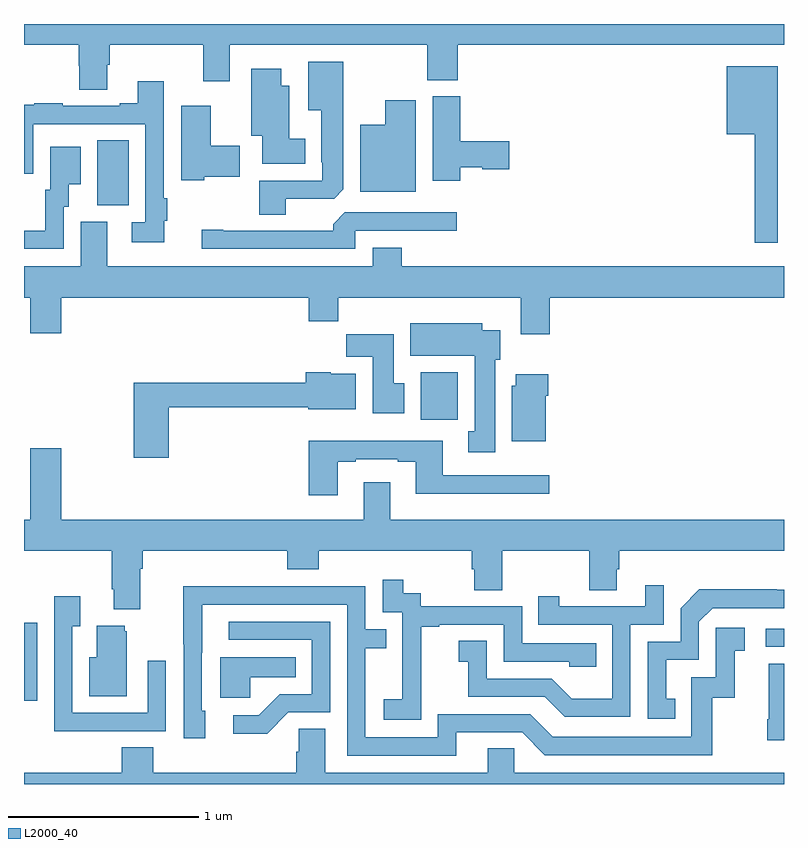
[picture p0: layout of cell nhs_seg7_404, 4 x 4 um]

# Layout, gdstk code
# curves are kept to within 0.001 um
import gdstk
lib = gdstk.Library(unit=1e-6, precision=1e-09)
def R(c, l, rs):  # rectangles x0, y0, x1, y1
    for r in rs: c.add(gdstk.rectangle(r[:2], r[2:], *l))
def P(c, l, *ps):  # polygons
    for p in ps: c.add(gdstk.Polygon(p, *l))
L2000_40 = (2000, 40)

nhs_seg7_404 = lib.new_cell('nhs_seg7_404')
R(nhs_seg7_404, L2000_40, [(141,1054.439,141.07,1054.849), (144.903,1054.722,145,1054.818), (143.087,1055.916,143.283,1056.166), (141.386,1057.045,141.55,1057.388)])
P(nhs_seg7_404, L2000_40, [(141.439,1057.786),(141.452,1057.786),(141.452,1057.892),(141.944,1057.892),(141.944,1057.698),(142.084,1057.698),(142.084,1057.892),(143.122,1057.892),(143.122,1057.705),(143.282,1057.705),(143.282,1057.892),(145,1057.892),(145,1058),(141,1058),(141,1057.892),(141.287,1057.892),(141.287,1057.779),(141.292,1057.779),(141.292,1057.654),(141.439,1057.654)],
  [(142.378,1057.08),(142.632,1057.08),(142.681,1057.129),(142.681,1057.801),(142.496,1057.801),(142.496,1057.547),(142.565,1057.547),(142.565,1057.273),(142.569,1057.273),(142.569,1057.176),(142.238,1057.176),(142.238,1056.997),(142.378,1056.997)],
  [(144.967,1057.777),(144.698,1057.777),(144.698,1057.421),(144.846,1057.421),(144.846,1056.849),(144.967,1056.849)],
  [(142.48,1057.396),(142.396,1057.396),(142.396,1057.675),(142.354,1057.675),(142.354,1057.765),(142.196,1057.765),(142.196,1057.412),(142.253,1057.412),(142.253,1057.265),(142.48,1057.265)],
  [(141.737,1056.964),(141.755,1056.964),(141.755,1057.082),(141.735,1057.082),(141.735,1057.699),(141.599,1057.699),(141.599,1057.582),(141.503,1057.582),(141.503,1057.569),(141.203,1057.569),(141.203,1057.582),(141.055,1057.582),(141.055,1057.575),(141,1057.575),(141,1057.212),(141.048,1057.212),(141.048,1057.473),(141.639,1057.473),(141.639,1056.957),(141.567,1056.957),(141.567,1056.852),(141.737,1056.852)],
  [(143.297,1057.247),(143.411,1057.247),(143.411,1057.235),(143.554,1057.235),(143.554,1057.382),(143.297,1057.382),(143.297,1057.62),(143.15,1057.62),(143.15,1057.176),(143.297,1057.176)],
  [(143.062,1057.6),(142.901,1057.6),(142.901,1057.471),(142.769,1057.471),(142.769,1057.118),(143.062,1057.118)],
  [(141.948,1057.196),(142.135,1057.196),(142.135,1057.359),(141.982,1057.359),(141.982,1057.57),(141.827,1057.57),(141.827,1057.178),(141.948,1057.178)],
  [(141.21,1057.038),(141.235,1057.038),(141.235,1057.157),(141.298,1057.157),(141.298,1057.354),(141.137,1057.354),(141.137,1057.128),(141.113,1057.128),(141.113,1056.912),(141,1056.912),(141,1056.816),(141.21,1056.816)],
  [(142.743,1056.912),(143.278,1056.912),(143.278,1057.008),(142.689,1057.008),(142.628,1056.946),(142.628,1056.912),(142.048,1056.912),(142.048,1056.917),(141.936,1056.917),(141.936,1056.816),(142.743,1056.816)],
  [(142.835,1056.823),(142.835,1056.724),(141.439,1056.724),(141.439,1056.96),(141.299,1056.96),(141.299,1056.724),(141,1056.724),(141,1056.56),(141.032,1056.56),(141.032,1056.372),(141.196,1056.372),(141.196,1056.56),(142.499,1056.56),(142.499,1056.436),(142.655,1056.436),(142.655,1056.56),(143.615,1056.56),(143.615,1056.366),(143.768,1056.366),(143.768,1056.56),(145,1056.56),(145,1056.724),(142.988,1056.724),(142.988,1056.823)],
  [(143.479,1056.234),(143.506,1056.234),(143.506,1056.388),(143.413,1056.388),(143.413,1056.424),(143.033,1056.424),(143.033,1056.254),(143.372,1056.254),(143.372,1055.857),(143.339,1055.857),(143.339,1055.745),(143.479,1055.745)],
  [(143.002,1056.108),(142.945,1056.108),(142.945,1056.366),(142.696,1056.366),(142.696,1056.248),(142.835,1056.248),(142.835,1055.952),(143.002,1055.952)],
  [(141.761,1055.983),(142.496,1055.983),(142.496,1055.972),(142.747,1055.972),(142.747,1056.16),(142.614,1056.16),(142.614,1056.166),(142.484,1056.166),(142.484,1056.112),(141.578,1056.112),(141.578,1055.718),(141.761,1055.718)],
  [(143.746,1056.044),(143.759,1056.044),(143.759,1056.157),(143.588,1056.157),(143.588,1056.096),(143.567,1056.096),(143.567,1055.804),(143.746,1055.804)],
  [(142.651,1055.697),(142.747,1055.697),(142.747,1055.709),(142.967,1055.709),(142.967,1055.697),(143.063,1055.697),(143.063,1055.528),(143.764,1055.528),(143.764,1055.625),(143.203,1055.625),(143.203,1055.806),(142.499,1055.806),(142.499,1055.52),(142.651,1055.52)],
  [(141.613,1055.132),(141.626,1055.132),(141.626,1055.228),(142.385,1055.228),(142.385,1055.129),(142.55,1055.129),(142.55,1055.228),(143.357,1055.228),(143.357,1055.13),(143.369,1055.13),(143.369,1055.02),(143.517,1055.02),(143.517,1055.228),(143.974,1055.228),(143.974,1055.02),(144.121,1055.02),(144.121,1055.13),(144.134,1055.13),(144.134,1055.228),(145,1055.228),(145,1055.392),(142.927,1055.392),(142.927,1055.587),(142.787,1055.587),(142.787,1055.392),(141.196,1055.392),(141.196,1055.767),(141.032,1055.767),(141.032,1055.392),(141,1055.392),(141,1055.228),(141.461,1055.228),(141.461,1055.026),(141.473,1055.026),(141.473,1054.919),(141.613,1054.919)],
  [(143.091,1054.543),(143.09,1054.543),(143.09,1054.827),(143.185,1054.827),(143.185,1054.839),(143.526,1054.839),(143.526,1054.644),(143.871,1054.644),(143.871,1054.617),(144.011,1054.617),(144.011,1054.74),(143.622,1054.74),(143.622,1054.935),(143.088,1054.935),(143.088,1055.004),(142.996,1055.004),(142.996,1055.074),(142.887,1055.074),(142.887,1054.905),(142.992,1054.905),(142.992,1054.676),(142.991,1054.676),(142.991,1054.447),(142.893,1054.447),(142.893,1054.337),(143.091,1054.337)],
  [(144.192,1054.839),(144.366,1054.839),(144.366,1055.047),(144.269,1055.047),(144.269,1054.935),(143.818,1054.935),(143.818,1054.987),(143.707,1054.987),(143.707,1054.839),(144.096,1054.839),(144.096,1054.45),(143.882,1054.45),(143.778,1054.554),(143.436,1054.554),(143.436,1054.753),(143.289,1054.753),(143.289,1054.643),(143.338,1054.643),(143.338,1054.458),(143.741,1054.458),(143.846,1054.353),(144.192,1054.353)],
  [(143.275,1054.272),(143.622,1054.272),(143.742,1054.152),(144.622,1054.152),(144.622,1054.455),(144.74,1054.455),(144.74,1054.701),(144.793,1054.701),(144.793,1054.822),(144.642,1054.822),(144.642,1054.563),(144.513,1054.563),(144.513,1054.248),(143.784,1054.248),(143.664,1054.368),(143.178,1054.368),(143.178,1054.245),(142.797,1054.245),(142.797,1054.714),(142.907,1054.714),(142.907,1054.815),(142.797,1054.815),(142.797,1055.04),(142.301,1055.04),(142.301,1055.042),(141.838,1055.042),(141.838,1054.735),(141.84,1054.735),(141.84,1054.242),(141.955,1054.242),(141.955,1054.386),(141.936,1054.386),(141.937,1054.944),(142.701,1054.944),(142.701,1054.149),(143.275,1054.149)],
  [(144.428,1054.449),(144.379,1054.449),(144.379,1054.653),(144.552,1054.653),(144.552,1054.854),(144.624,1054.926),(145,1054.926),(145,1055.022),(144.962,1055.022),(144.962,1055.024),(144.554,1055.024),(144.456,1054.926),(144.456,1054.749),(144.282,1054.749),(144.282,1054.344),(144.428,1054.344)],
  [(141.431,1054.278),(141.747,1054.278),(141.747,1054.648),(141.651,1054.648),(141.651,1054.374),(141.255,1054.374),(141.255,1054.831),(141.295,1054.831),(141.295,1054.987),(141.159,1054.987),(141.159,1054.277),(141.431,1054.277)],
  [(142.392,1054.377),(142.611,1054.377),(142.611,1054.854),(142.077,1054.854),(142.077,1054.758),(142.515,1054.758),(142.515,1054.473),(142.346,1054.473),(142.235,1054.362),(142.101,1054.362),(142.101,1054.265),(142.279,1054.265)],
  [(141.541,1054.803),(141.53,1054.803),(141.53,1054.834),(141.383,1054.834),(141.383,1054.666),(141.344,1054.666),(141.344,1054.463),(141.541,1054.463)],
  [(142.191,1054.562),(142.43,1054.562),(142.43,1054.666),(142.034,1054.666),(142.034,1054.454),(142.191,1054.454)],
  [(145,1054.633),(144.92,1054.633),(144.92,1054.342),(144.913,1054.342),(144.913,1054.23),(145,1054.23)],
  [(143.441,1054.06),(142.585,1054.06),(142.585,1054.292),(142.446,1054.292),(142.446,1054.169),(142.433,1054.169),(142.433,1054.06),(141.68,1054.06),(141.68,1054.193),(141.515,1054.193),(141.515,1054.06),(141,1054.06),(141,1054),(145,1054),(145,1054.06),(143.58,1054.06),(143.58,1054.187),(143.441,1054.187)])

lib.write_gds('nhs_seg7_404.gds')
